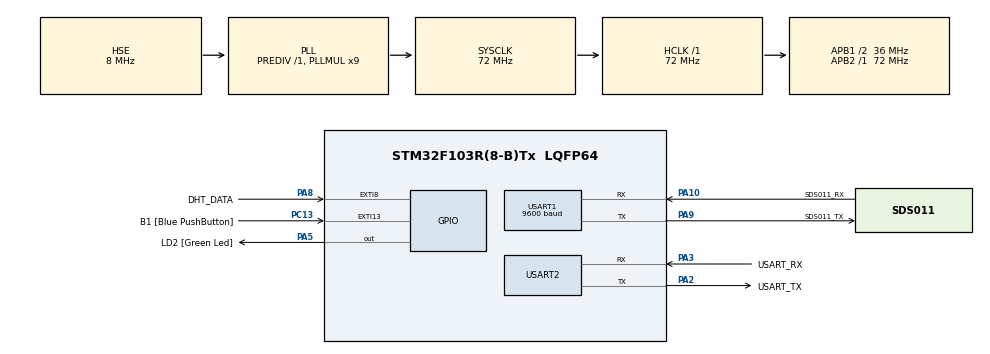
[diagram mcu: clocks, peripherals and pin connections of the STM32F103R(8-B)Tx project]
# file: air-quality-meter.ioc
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Dma.Request0=USART1_RX
Dma.USART1_RX.0.Direction=DMA_PERIPH_TO_MEMORY
Dma.USART1_RX.0.Instance=DMA1_Channel5
Dma.USART1_RX.0.MemDataAlignment=DMA_MDATAALIGN_BYTE
Dma.USART1_RX.0.MemInc=DMA_MINC_ENABLE
Dma.USART1_RX.0.Mode=DMA_NORMAL
Dma.USART1_RX.0.PeriphDataAlignment=DMA_PDATAALIGN_BYTE
Dma.USART1_RX.0.PeriphInc=DMA_PINC_DISABLE
Dma.USART1_RX.0.Priority=DMA_PRIORITY_LOW
Mcu.Family=STM32F1
Mcu.Name=STM32F103R(8-B)Tx
Mcu.Package=LQFP64
NVIC.DMA1_Channel5_IRQn=true\:0\:0\:false\:false\:true\:false\:true\:true
NVIC.EXTI15_10_IRQn=true\:0\:0\:false\:false\:true\:true\:true\:true
NVIC.EXTI9_5_IRQn=true\:0\:0\:false\:false\:true\:true\:true\:true
NVIC.PriorityGroup=NVIC_PRIORITYGROUP_4
NVIC.USART1_IRQn=true\:0\:0\:false\:false\:true\:true\:true\:true
PA10.GPIO_Label=SDS011_RX
PA10.Mode=Asynchronous
PA10.Signal=USART1_RX
PA13.GPIO_Label=TMS
PA13.Mode=Serial_Wire
PA13.Signal=SYS_JTMS-SWDIO
PA14.GPIO_Label=TCK
PA14.Mode=Serial_Wire
PA14.Signal=SYS_JTCK-SWCLK
PA2.GPIO_Label=USART_TX
PA2.GPIO_Mode=GPIO_MODE_AF_PP
PA2.GPIO_PuPd=GPIO_NOPULL
PA2.GPIO_Speed=GPIO_SPEED_FREQ_LOW
PA2.Mode=Asynchronous
PA2.Signal=USART2_TX
PA3.GPIO_Label=USART_RX
PA3.GPIO_Mode=GPIO_MODE_AF_PP
PA3.GPIO_PuPd=GPIO_NOPULL
PA3.GPIO_Speed=GPIO_SPEED_FREQ_LOW
PA3.Mode=Asynchronous
PA3.Signal=USART2_RX
PA5.GPIO_Label=LD2 [Green Led]
PA5.GPIO_ModeDefaultOutputPP=GPIO_MODE_OUTPUT_PP
PA5.GPIO_PuPd=GPIO_NOPULL
PA5.GPIO_Speed=GPIO_SPEED_FREQ_LOW
PA5.Signal=GPIO_Output
PA8.GPIO_Label=DHT_DATA
PA8.GPIO_ModeDefaultEXTI=GPIO_MODE_IT_RISING_FALLING
PA8.GPIO_PuPd=GPIO_NOPULL
PA8.Signal=GPXTI8
PA9.GPIO_Label=SDS011_TX
PA9.Mode=Asynchronous
PA9.Signal=USART1_TX
PB3.GPIO_Label=SWO
PB3.Signal=SYS_JTDO-TRACESWO
PC13-TAMPER-RTC.GPIO_Label=B1 [Blue PushButton]
PC13-TAMPER-RTC.GPIO_PuPd=GPIO_NOPULL
PC13-TAMPER-RTC.Signal=GPXTI13
PC14-OSC32_IN.Mode=LSE-External-Oscillator
PC14-OSC32_IN.Signal=RCC_OSC32_IN
PC15-OSC32_OUT.Mode=LSE-External-Oscillator
PC15-OSC32_OUT.Signal=RCC_OSC32_OUT
PD0-OSC_IN.Mode=HSE-External-Clock-Source
PD0-OSC_IN.Signal=RCC_OSC_IN
PD1-OSC_OUT.Mode=HSE-External-Clock-Source
PD1-OSC_OUT.Signal=RCC_OSC_OUT
ProjectManager.HeapSize=0x200
ProjectManager.StackSize=0x400
ProjectManager.TargetToolchain=Makefile
RCC.AHBFreq_Value=72000000
RCC.APB1CLKDivider=RCC_HCLK_DIV2
RCC.APB1Freq_Value=36000000
RCC.APB1TimFreq_Value=72000000
RCC.APB2Freq_Value=72000000
RCC.APB2TimFreq_Value=72000000
RCC.HCLKFreq_Value=72000000
RCC.PLLMUL=RCC_PLL_MUL9
RCC.PLLSourceVirtual=RCC_PLLSOURCE_HSE
RCC.RTCClockSelection=RCC_RTCCLKSOURCE_LSE
RCC.SYSCLKFreq_VALUE=72000000
RCC.SYSCLKSource=RCC_SYSCLKSOURCE_PLLCLK
RCC.USBFreq_Value=72000000
TIM2.Period=0xffff
TIM2.Prescaler=71
USART1.BaudRate=9600
USART1.VirtualMode=VM_ASYNC
USART2.VirtualMode=VM_ASYNC
VP_TIM2_VS_ClockSourceINT.Mode=Internal
board=NUCLEO-F103RB

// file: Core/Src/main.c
/* USER CODE BEGIN Header */
/**
  ******************************************************************************
  * @file           : main.c
  * @brief          : Main program body
  ******************************************************************************
  * @attention
  *
  * Copyright (c) 2025 STMicroelectronics.
  * All rights reserved.
  *
  * This software is licensed under terms that can be found in the LICENSE file
  * in the root directory of this software component.
  * If no LICENSE file comes with this software, it is provided AS-IS.
  *
  ******************************************************************************
  */
/* USER CODE END Header */
#include "main.h"

/* USER CODE BEGIN Includes */
#include "dht.h"
#include "stdio.h"
#include "string.h"
#include "sds.h"

/* USER CODE END Includes */

TIM_HandleTypeDef htim2;

UART_HandleTypeDef huart1;
UART_HandleTypeDef huart2;
DMA_HandleTypeDef hdma_usart1_rx;

void SystemClock_Config(void);
static void MX_GPIO_Init(void);
static void MX_DMA_Init(void);
static void MX_USART2_UART_Init(void);
static void MX_TIM2_Init(void);
static void MX_USART1_UART_Init(void);
/* USER CODE BEGIN PFP */
void DWT_Init(void);
void DWT_Delay_us(uint32_t us);
void Timer_Delay_us(uint16_t us);
/* USER CODE END PFP */

int main(void)
{

  /* MCU Configuration--------------------------------------------------------*/

  /* Reset of all peripherals, Initializes the Flash interface and the Systick. */
  HAL_Init();

  /* Configure the system clock */
  SystemClock_Config();

  /* USER CODE BEGIN SysInit */
  DWT_Init();  // Enable the cycle counter for delays
  /* USER CODE END SysInit */

  /* Initialize all configured peripherals */
  MX_GPIO_Init();
  MX_DMA_Init();
  MX_USART2_UART_Init();
  MX_TIM2_Init();
  MX_USART1_UART_Init();
  /* USER CODE BEGIN 2 */

  HAL_TIM_Base_Start(&htim2);

  /* USER CODE END 2 */

  /* Infinite loop */
  /* USER CODE BEGIN WHILE */
  while (1)
  {
    printf("----------------Version 0.0.0----------------\r\n");

    while (1)
    {
      DHT_Touch();
      DHT_Data data = DHT_GetLatestData();
      DHT_PrintLatestData();

      // SDS_setWorkMode();
      // HAL_Delay(1000);
      // uint32_t timeout = HAL_GetTick() + 1000;
      // while (!sds_response_ready && HAL_GetTick() < timeout);
      SDS_queryData();
      // HAL_Delay(2000);
      // SDS_setSleepMode();
      HAL_Delay(4000);

      // SDS_setWorkMode();
      // HAL_Delay(3000);
    }
    // DHT_PrintLatestData();

    /* USER CODE END WHILE */

  }
}

void SystemClock_Config(void)
{
  RCC_OscInitTypeDef RCC_OscInitStruct = {0};
  RCC_ClkInitTypeDef RCC_ClkInitStruct = {0};

  /** Initializes the RCC Oscillators according to the specified parameters
  * in the RCC_OscInitTypeDef structure.
  */
  RCC_OscInitStruct.OscillatorType = RCC_OSCILLATORTYPE_HSE;
  RCC_OscInitStruct.HSEState = RCC_HSE_BYPASS;
  RCC_OscInitStruct.HSEPredivValue = RCC_HSE_PREDIV_DIV1;
  RCC_OscInitStruct.HSIState = RCC_HSI_ON;
  RCC_OscInitStruct.PLL.PLLState = RCC_PLL_ON;
  RCC_OscInitStruct.PLL.PLLSource = RCC_PLLSOURCE_HSE;
  RCC_OscInitStruct.PLL.PLLMUL = RCC_PLL_MUL9;
  if (HAL_RCC_OscConfig(&RCC_OscInitStruct) != HAL_OK)
  {
    Error_Handler();
  }

  /** Initializes the CPU, AHB and APB buses clocks
  */
  RCC_ClkInitStruct.ClockType = RCC_CLOCKTYPE_HCLK|RCC_CLOCKTYPE_SYSCLK
                              |RCC_CLOCKTYPE_PCLK1|RCC_CLOCKTYPE_PCLK2;
  RCC_ClkInitStruct.SYSCLKSource = RCC_SYSCLKSOURCE_PLLCLK;
  RCC_ClkInitStruct.AHBCLKDivider = RCC_SYSCLK_DIV1;
  RCC_ClkInitStruct.APB1CLKDivider = RCC_HCLK_DIV2;
  RCC_ClkInitStruct.APB2CLKDivider = RCC_HCLK_DIV1;

  if (HAL_RCC_ClockConfig(&RCC_ClkInitStruct, FLASH_LATENCY_2) != HAL_OK)
  {
    Error_Handler();
  }
}

static void MX_TIM2_Init(void)
{

  TIM_ClockConfigTypeDef sClockSourceConfig = {0};
  TIM_MasterConfigTypeDef sMasterConfig = {0};

  htim2.Instance = TIM2;
  htim2.Init.Prescaler = 71;
  htim2.Init.CounterMode = TIM_COUNTERMODE_UP;
  htim2.Init.Period = 0xffff;
  htim2.Init.ClockDivision = TIM_CLOCKDIVISION_DIV1;
  htim2.Init.AutoReloadPreload = TIM_AUTORELOAD_PRELOAD_DISABLE;
  if (HAL_TIM_Base_Init(&htim2) != HAL_OK)
  {
    Error_Handler();
  }
  sClockSourceConfig.ClockSource = TIM_CLOCKSOURCE_INTERNAL;
  if (HAL_TIM_ConfigClockSource(&htim2, &sClockSourceConfig) != HAL_OK)
  {
    Error_Handler();
  }
  sMasterConfig.MasterOutputTrigger = TIM_TRGO_RESET;
  sMasterConfig.MasterSlaveMode = TIM_MASTERSLAVEMODE_DISABLE;
  if (HAL_TIMEx_MasterConfigSynchronization(&htim2, &sMasterConfig) != HAL_OK)
  {
    Error_Handler();
  }

}

static void MX_USART1_UART_Init(void)
{

  huart1.Instance = USART1;
  huart1.Init.BaudRate = 9600;
  huart1.Init.WordLength = UART_WORDLENGTH_8B;
  huart1.Init.StopBits = UART_STOPBITS_1;
  huart1.Init.Parity = UART_PARITY_NONE;
  huart1.Init.Mode = UART_MODE_TX_RX;
  huart1.Init.HwFlowCtl = UART_HWCONTROL_NONE;
  huart1.Init.OverSampling = UART_OVERSAMPLING_16;
  if (HAL_UART_Init(&huart1) != HAL_OK)
  {
    Error_Handler();
  }

}

static void MX_USART2_UART_Init(void)
{

  huart2.Instance = USART2;
  huart2.Init.BaudRate = 115200;
  huart2.Init.WordLength = UART_WORDLENGTH_8B;
  huart2.Init.StopBits = UART_STOPBITS_1;
  huart2.Init.Parity = UART_PARITY_NONE;
  huart2.Init.Mode = UART_MODE_TX_RX;
  huart2.Init.HwFlowCtl = UART_HWCONTROL_NONE;
  huart2.Init.OverSampling = UART_OVERSAMPLING_16;
  if (HAL_UART_Init(&huart2) != HAL_OK)
  {
    Error_Handler();
  }

}

static void MX_DMA_Init(void)
{

  /* DMA controller clock enable */
  __HAL_RCC_DMA1_CLK_ENABLE();

  /* DMA interrupt init */
  /* DMA1_Channel5_IRQn interrupt configuration */
  HAL_NVIC_SetPriority(DMA1_Channel5_IRQn, 0, 0);
  HAL_NVIC_EnableIRQ(DMA1_Channel5_IRQn);

}

static void MX_GPIO_Init(void)
{
  GPIO_InitTypeDef GPIO_InitStruct = {0};

  /* GPIO Ports Clock Enable */
  __HAL_RCC_GPIOC_CLK_ENABLE();
  __HAL_RCC_GPIOD_CLK_ENABLE();
  __HAL_RCC_GPIOA_CLK_ENABLE();
  __HAL_RCC_GPIOB_CLK_ENABLE();

  /*Configure GPIO pin Output Level */
  HAL_GPIO_WritePin(LD2_GPIO_Port, LD2_Pin, GPIO_PIN_RESET);

  /*Configure GPIO pin : B1_Pin */
  GPIO_InitStruct.Pin = B1_Pin;
  GPIO_InitStruct.Mode = GPIO_MODE_IT_RISING;
  GPIO_InitStruct.Pull = GPIO_NOPULL;
  HAL_GPIO_Init(B1_GPIO_Port, &GPIO_InitStruct);

  /*Configure GPIO pin : LD2_Pin */
  GPIO_InitStruct.Pin = LD2_Pin;
  GPIO_InitStruct.Mode = GPIO_MODE_OUTPUT_PP;
  GPIO_InitStruct.Pull = GPIO_NOPULL;
  GPIO_InitStruct.Speed = GPIO_SPEED_FREQ_LOW;
  HAL_GPIO_Init(LD2_GPIO_Port, &GPIO_InitStruct);

  /*Configure GPIO pin : DHT_DATA_Pin */
  GPIO_InitStruct.Pin = DHT_DATA_Pin;
  GPIO_InitStruct.Mode = GPIO_MODE_IT_RISING_FALLING;
  GPIO_InitStruct.Pull = GPIO_NOPULL;
  HAL_GPIO_Init(DHT_DATA_GPIO_Port, &GPIO_InitStruct);

  /* EXTI interrupt init*/
  HAL_NVIC_SetPriority(EXTI9_5_IRQn, 0, 0);
  HAL_NVIC_EnableIRQ(EXTI9_5_IRQn);

  HAL_NVIC_SetPriority(EXTI15_10_IRQn, 0, 0);
  HAL_NVIC_EnableIRQ(EXTI15_10_IRQn);

}

/* USER CODE BEGIN 4 */

int _write(int file, char *ptr, int len)
{
  // Send the entire buffer over USART1
  HAL_UART_Transmit(&huart2, (uint8_t *)ptr, len, HAL_MAX_DELAY);

  // Return number of bytes written
  return len;
}

void DWT_Init(void) {
  CoreDebug->DEMCR |= CoreDebug_DEMCR_TRCENA_Msk;  // Enable trace
  DWT->CYCCNT = 0;                                 // Reset cycle counter
  DWT->CTRL |= DWT_CTRL_CYCCNTENA_Msk;             // Enable counter
}

void DWT_Delay_us(uint32_t us) {
  uint32_t cycles = us * (SystemCoreClock / 1000000);
  uint32_t start = DWT->CYCCNT;
  while ((DWT->CYCCNT - start) < cycles);
}

uint16_t Timer_GetMicros(void) {
  return __HAL_TIM_GET_COUNTER(&htim2);
}

void Timer_Delay_us(uint16_t us) {
  uint16_t start = Timer_GetMicros();
  while ((uint16_t)(Timer_GetMicros() - start) < us);
}

void HAL_GPIO_EXTI_Callback(uint16_t GPIO_Pin) {
  if (GPIO_Pin == DHT_DATA_Pin) {
    DHT_ReadResponse(GPIO_Pin);
  }
}

void HAL_UART_RxCpltCallback(UART_HandleTypeDef *huart) {
  if (huart->Instance == USART1) {
    SDS_getData();
    // printf("checked\r\n");
    sds_response_ready = 1;
    sds_command_waiting = 0;
    HAL_UART_Receive_DMA(&huart1, SDS_receivedData, 10);

  }
}
/* USER CODE END 4 */

void Error_Handler(void)
{
  __disable_irq();
  while (1)
  {
  }
}
